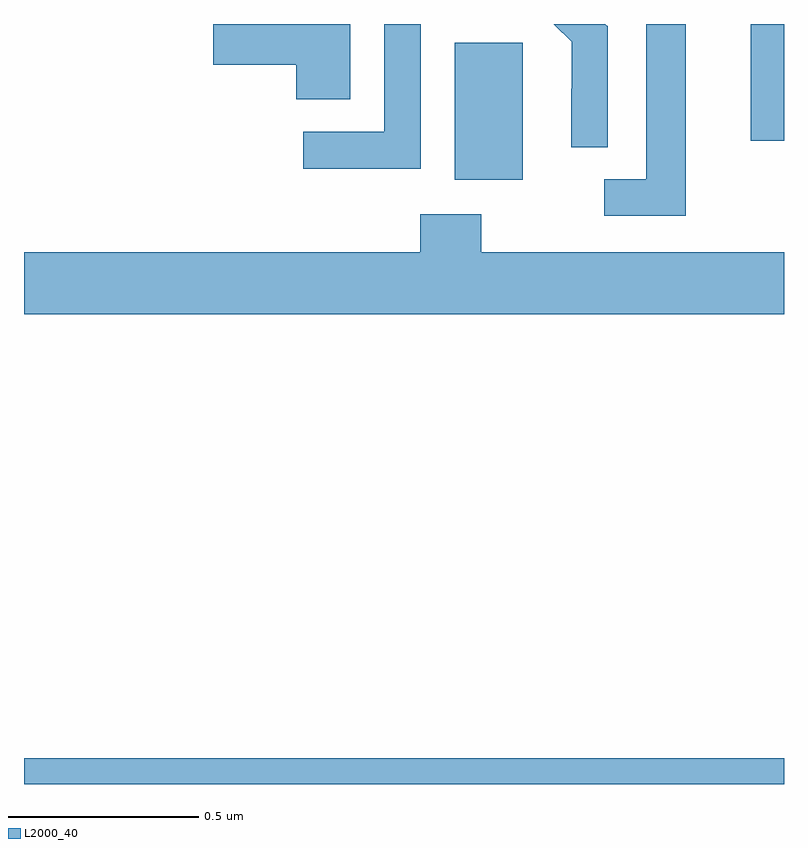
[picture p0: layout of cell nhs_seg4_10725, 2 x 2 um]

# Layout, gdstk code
import gdstk
lib = gdstk.Library(unit=1e-6, precision=1e-09)
def R(c, l, rs):  # rectangles x0, y0, x1, y1
    for r in rs: c.add(gdstk.rectangle(r[:2], r[2:], *l))
def P(c, l, *ps):  # polygons
    for p in ps: c.add(gdstk.Polygon(p, *l))
L2000_40 = (2000, 40)

nhs_seg4_10725 = lib.new_cell('nhs_seg4_10725')
R(nhs_seg4_10725, L2000_40, [(243,812.9,245,812.968), (244.133,814.49,244.312,814.851), (244.913,814.593,245,814.9)])
P(nhs_seg4_10725, L2000_40, [(244.741,814.9),(244.637,814.9),(244.637,814.491),(244.527,814.491),(244.527,814.395),(244.741,814.395)],
  [(243.859,814.9),(243.498,814.9),(243.498,814.793),(243.716,814.793),(243.716,814.702),(243.859,814.702)],
  [(244.044,814.9),(243.948,814.9),(243.948,814.617),(243.735,814.617),(243.735,814.519),(244.044,814.519)],
  [(244.536,814.894),(244.53,814.9),(244.394,814.9),(244.442,814.853),(244.442,814.73),(244.44,814.73),(244.44,814.576),(244.536,814.576)],
  [(245,814.3),(244.203,814.3),(244.203,814.399),(244.043,814.399),(244.043,814.3),(243,814.3),(243,814.136),(245,814.136)])

lib.write_gds('nhs_seg4_10725.gds')
